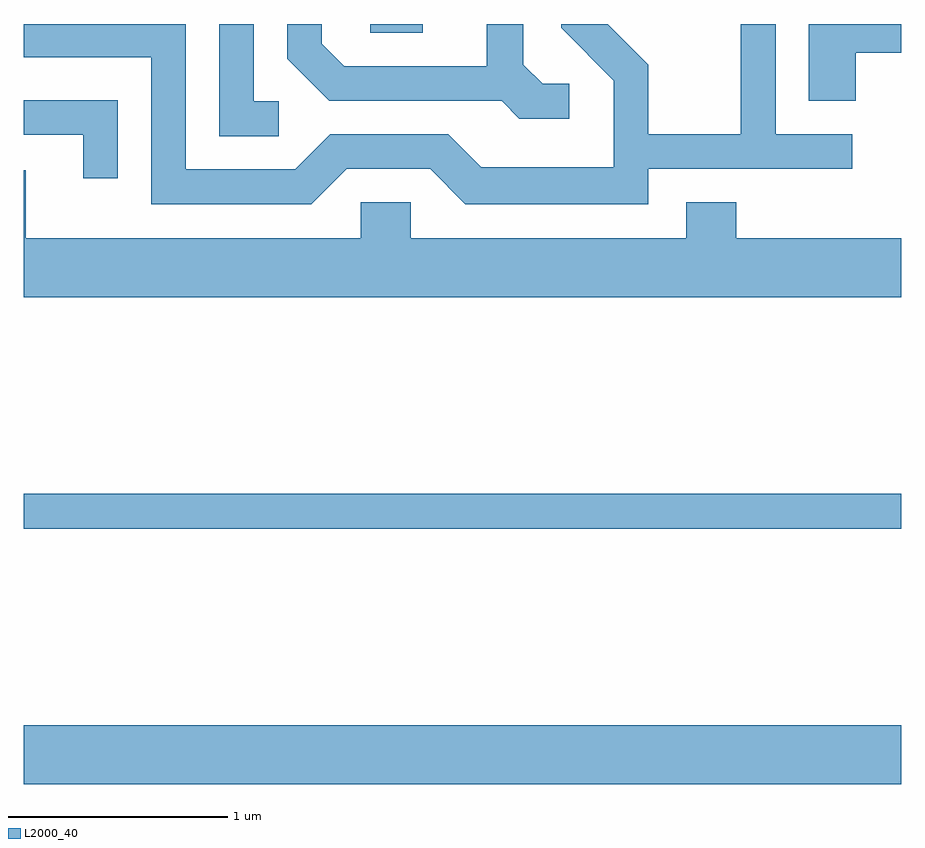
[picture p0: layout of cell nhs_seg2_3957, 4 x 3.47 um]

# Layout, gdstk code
import gdstk
lib = gdstk.Library(unit=1e-6, precision=1e-09)
def R(c, l, rs):  # rectangles x0, y0, x1, y1
    for r in rs: c.add(gdstk.rectangle(r[:2], r[2:], *l))
def P(c, l, *ps):  # polygons
    for p in ps: c.add(gdstk.Polygon(p, *l))
L2000_40 = (2000, 40)

nhs_seg2_3957 = lib.new_cell('nhs_seg2_3957')
R(nhs_seg2_3957, L2000_40, [(301.611,1028.336,305.611,1028.604), (301.611,1029.501,305.611,1029.659), (303.191,1031.761,303.429,1031.802)])
P(nhs_seg2_3957, L2000_40, [(304.098,1031.529),(303.977,1031.529),(303.889,1031.617),(303.889,1031.802),(303.721,1031.802),(303.721,1031.609),(303.072,1031.609),(302.969,1031.712),(302.969,1031.802),(302.811,1031.802),(302.811,1031.644),(303.004,1031.451),(303.789,1031.451),(303.869,1031.371),(304.098,1031.371)],
  [(302.773,1031.449),(302.659,1031.449),(302.659,1031.802),(302.501,1031.802),(302.501,1031.291),(302.773,1031.291)],
  [(303.082,1031.141),(303.464,1031.141),(303.624,1030.981),(304.459,1030.981),(304.459,1031.141),(305.388,1031.141),(305.388,1031.299),(305.039,1031.299),(305.039,1031.802),(304.881,1031.802),(304.881,1031.299),(304.459,1031.299),(304.459,1031.617),(304.274,1031.802),(304.061,1031.802),(304.061,1031.784),(304.301,1031.544),(304.301,1031.149),(303.697,1031.149),(303.547,1031.299),(303.009,1031.299),(302.849,1031.139),(302.349,1031.139),(302.349,1031.802),(301.611,1031.802),(301.611,1031.651),(302.191,1031.651),(302.191,1030.981),(302.922,1030.981)],
  [(305.404,1031.671),(305.611,1031.671),(305.611,1031.802),(305.191,1031.802),(305.191,1031.451),(305.404,1031.451)],
  [(302.039,1031.454),(301.611,1031.454),(301.611,1031.296),(301.881,1031.296),(301.881,1031.098),(302.039,1031.098)],
  [(305.611,1030.824),(304.859,1030.824),(304.859,1030.989),(304.631,1030.989),(304.631,1030.824),(303.374,1030.824),(303.374,1030.989),(303.146,1030.989),(303.146,1030.824),(301.619,1030.824),(301.619,1031.134),(301.611,1031.134),(301.611,1030.556),(305.611,1030.556)])

lib.write_gds('nhs_seg2_3957.gds')
